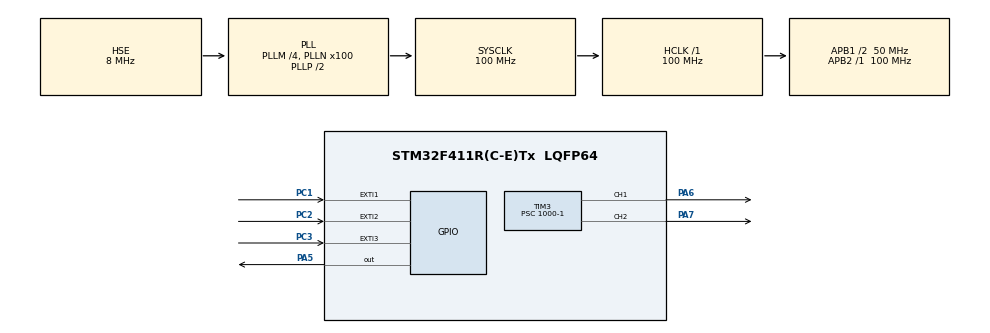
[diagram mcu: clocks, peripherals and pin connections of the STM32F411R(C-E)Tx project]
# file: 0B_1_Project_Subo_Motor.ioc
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Mcu.Family=STM32F4
Mcu.Name=STM32F411R(C-E)Tx
Mcu.Package=LQFP64
NVIC.EXTI1_IRQn=true\:0\:0\:false\:false\:true\:true\:true\:true
NVIC.EXTI2_IRQn=true\:0\:0\:false\:false\:true\:true\:true\:true
NVIC.EXTI3_IRQn=true\:0\:0\:false\:false\:true\:true\:true\:true
NVIC.PriorityGroup=NVIC_PRIORITYGROUP_4
PA13.Mode=Serial_Wire
PA13.Signal=SYS_JTMS-SWDIO
PA14.Mode=Serial_Wire
PA14.Signal=SYS_JTCK-SWCLK
PA5.Signal=GPIO_Output
PA6.Signal=S_TIM3_CH1
PA7.Signal=S_TIM3_CH2
PC1.GPIO_PuPd=GPIO_PULLUP
PC1.Signal=GPXTI1
PC2.GPIO_PuPd=GPIO_PULLUP
PC2.Signal=GPXTI2
PC3.GPIO_PuPd=GPIO_PULLUP
PC3.Signal=GPXTI3
PH0\ -\ OSC_IN.Mode=HSE-External-Clock-Source
PH0\ -\ OSC_IN.Signal=RCC_OSC_IN
PH1\ -\ OSC_OUT.Mode=HSE-External-Clock-Source
PH1\ -\ OSC_OUT.Signal=RCC_OSC_OUT
ProjectManager.HeapSize=0x200
ProjectManager.StackSize=0x400
ProjectManager.TargetToolchain=STM32CubeIDE
RCC.48MHZClocksFreq_Value=50000000
RCC.AHBFreq_Value=100000000
RCC.APB1CLKDivider=RCC_HCLK_DIV2
RCC.APB1Freq_Value=50000000
RCC.APB1TimFreq_Value=100000000
RCC.APB2Freq_Value=100000000
RCC.APB2TimFreq_Value=100000000
RCC.CortexFreq_Value=100000000
RCC.HCLKFreq_Value=100000000
RCC.HSE_VALUE=8000000
RCC.HSI_VALUE=16000000
RCC.LSE_VALUE=32768
RCC.PLLM=4
RCC.PLLN=100
RCC.PLLSourceVirtual=RCC_PLLSOURCE_HSE
RCC.SYSCLKFreq_VALUE=100000000
RCC.SYSCLKSource=RCC_SYSCLKSOURCE_PLLCLK
RCC.VCOOutputFreq_Value=200000000
SH.S_TIM3_CH1.0=TIM3_CH1,PWM Generation1 CH1
SH.S_TIM3_CH2.0=TIM3_CH2,PWM Generation2 CH2
TIM3.Channel-PWM\ Generation1\ CH1=TIM_CHANNEL_1
TIM3.Channel-PWM\ Generation2\ CH2=TIM_CHANNEL_2
TIM3.Period=2000-1
TIM3.Prescaler=1000-1
TIM3.Pulse-PWM\ Generation1\ CH1=1000
TIM3.Pulse-PWM\ Generation2\ CH2=1000
board=custom

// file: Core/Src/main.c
/* USER CODE BEGIN Header */
/**
  * STM32 Elevator Door Test (Button Version)
  * Motors: PA6, PA7 (Controlled by motor.c)
  * Buttons: PA0, PA1, PA4 (Controlled by button.c)
  */
/* USER CODE END Header */
#include "main.h"
#include "tim.h"
#include "gpio.h"

/* USER CODE BEGIN Includes */
#include "button.h"
#include "motor.h"
/* USER CODE END Includes */

/* USER CODE BEGIN PV */
volatile uint8_t door_open_flag = 0;
/* USER CODE END PV */

void SystemClock_Config(void);
/* USER CODE BEGIN PFP */
void HAL_GPIO_EXTI_Callback(uint16_t GPIO_Pin)
{
  // PC1(1번), PC2(2번), PC3(3번) 중 하나라도 눌리면?
  if (GPIO_Pin == GPIO_PIN_1 || GPIO_Pin == GPIO_PIN_2 || GPIO_PIN_3)
  {
      if (door_open_flag == 0)
      {
          door_open_flag = 1;
      }
  }
}
/* USER CODE END PFP */

int main(void)
{

  /* MCU Configuration--------------------------------------------------------*/

  /* Reset of all peripherals, Initializes the Flash interface and the Systick. */
  HAL_Init();

  /* Configure the system clock */
  SystemClock_Config();

  /* Initialize all configured peripherals */
  MX_GPIO_Init();
  MX_TIM3_Init();
  /* USER CODE BEGIN 2 */
  Elevator_Init(&htim3);
  /* USER CODE END 2 */

  /* Infinite loop */
  /* USER CODE BEGIN WHILE */
  while (1)
  {
//	    // ★ 버튼이 눌려서 깃발이 1이 되면?
//	    if (door_open_flag == 1)
//	    {
//	      // 1. 문 열기
//	      Elevator_Open();
//	      HAL_Delay(2000); // 2초 대기
//
//	      // 2. 문 닫기
//	      Elevator_Close();
//	      HAL_Delay(1000); // 닫힘 완료 대기
//
//	      // 3. 깃발 내리기 (다음 신호 대기)
//	      door_open_flag = 0;
//
//	      // 채터링(버튼 떨림) 방지용 인터럽트 클리어 및 대기
//	      __HAL_GPIO_EXTI_CLEAR_IT(GPIO_PIN_1);
//	      __HAL_GPIO_EXTI_CLEAR_IT(GPIO_PIN_2);
//	      __HAL_GPIO_EXTI_CLEAR_IT(GPIO_PIN_3);
//	      HAL_Delay(500);

	  for(uint16_t i = 0; i <= 260; i++)
	  {
		  TIM3 -> CCR1 = i;
		  TIM3 -> CCR2 = i;
		  HAL_Delay(10);
	  }
	  HAL_Delay(5000);
	  TIM3 -> CCR2 = 40;
	  HAL_Delay(5000);
    /* USER CODE END WHILE */

  }
 }

void SystemClock_Config(void)
{
  RCC_OscInitTypeDef RCC_OscInitStruct = {0};
  RCC_ClkInitTypeDef RCC_ClkInitStruct = {0};

  /** Configure the main internal regulator output voltage
  */
  __HAL_RCC_PWR_CLK_ENABLE();
  __HAL_PWR_VOLTAGESCALING_CONFIG(PWR_REGULATOR_VOLTAGE_SCALE1);

  /** Initializes the RCC Oscillators according to the specified parameters
  * in the RCC_OscInitTypeDef structure.
  */
  RCC_OscInitStruct.OscillatorType = RCC_OSCILLATORTYPE_HSE;
  RCC_OscInitStruct.HSEState = RCC_HSE_BYPASS;
  RCC_OscInitStruct.PLL.PLLState = RCC_PLL_ON;
  RCC_OscInitStruct.PLL.PLLSource = RCC_PLLSOURCE_HSE;
  RCC_OscInitStruct.PLL.PLLM = 4;
  RCC_OscInitStruct.PLL.PLLN = 100;
  RCC_OscInitStruct.PLL.PLLP = RCC_PLLP_DIV2;
  RCC_OscInitStruct.PLL.PLLQ = 4;
  if (HAL_RCC_OscConfig(&RCC_OscInitStruct) != HAL_OK)
  {
    Error_Handler();
  }

  /** Initializes the CPU, AHB and APB buses clocks
  */
  RCC_ClkInitStruct.ClockType = RCC_CLOCKTYPE_HCLK|RCC_CLOCKTYPE_SYSCLK
                              |RCC_CLOCKTYPE_PCLK1|RCC_CLOCKTYPE_PCLK2;
  RCC_ClkInitStruct.SYSCLKSource = RCC_SYSCLKSOURCE_PLLCLK;
  RCC_ClkInitStruct.AHBCLKDivider = RCC_SYSCLK_DIV1;
  RCC_ClkInitStruct.APB1CLKDivider = RCC_HCLK_DIV2;
  RCC_ClkInitStruct.APB2CLKDivider = RCC_HCLK_DIV1;

  if (HAL_RCC_ClockConfig(&RCC_ClkInitStruct, FLASH_LATENCY_3) != HAL_OK)
  {
    Error_Handler();
  }
}

void Error_Handler(void)
{
  __disable_irq();
  while (1)
  {
  }
}
